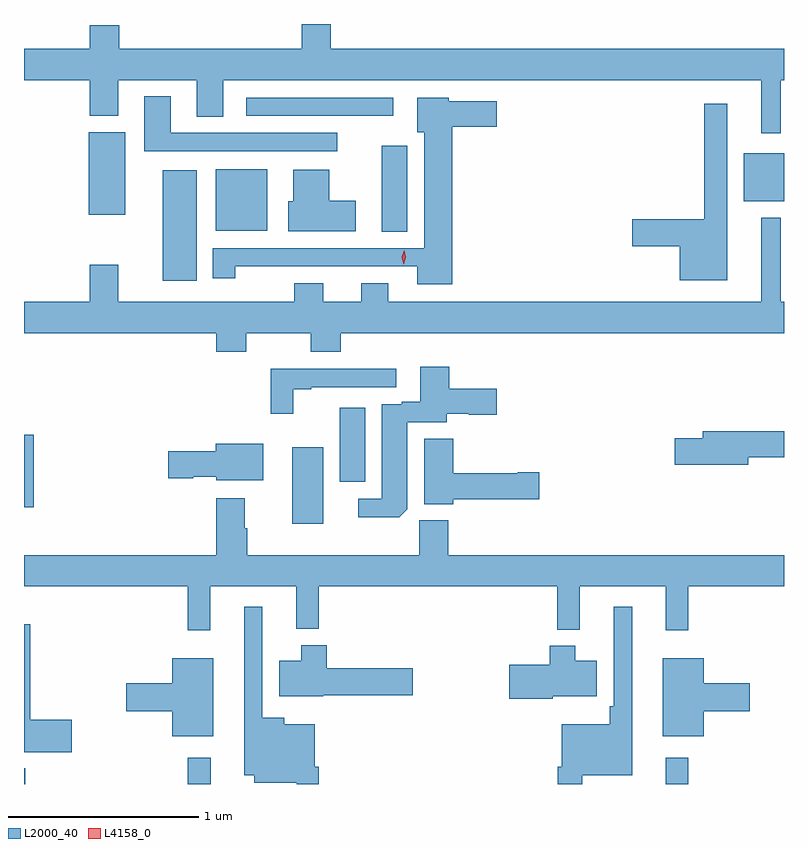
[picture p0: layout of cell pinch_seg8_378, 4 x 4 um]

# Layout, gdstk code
import gdstk
lib = gdstk.Library(unit=1e-6, precision=1e-09)
def R(c, l, rs):  # rectangles x0, y0, x1, y1
    for r in rs: c.add(gdstk.rectangle(r[:2], r[2:], *l))
def P(c, l, *ps):  # polygons
    for p in ps: c.add(gdstk.Polygon(p, *l))
L2000_40 = (2000, 40)
L4158_0 = (4158, 0)

pinch_seg8_378 = lib.new_cell('pinch_seg8_378')
R(pinch_seg8_378, L2000_40, [(396.566,1087.487,396.572,1087.57), (397.429,1087.487,397.548,1087.624), (399.944,1087.487,400.061,1087.624), (397.979,1088.856,398.14,1089.259), (396.566,1088.943,396.617,1089.324), (398.228,1089.078,398.362,1089.466), (397.295,1090.136,397.474,1090.717), (398.45,1090.393,398.584,1090.846), (397.574,1090.4,397.846,1090.723), (396.908,1090.484,397.099,1090.918), (400.355,1090.553,400.566,1090.807), (397.737,1091.004,398.509,1091.1)])
P(pinch_seg8_378, L2000_40, [(400.549,1091.192),(400.566,1091.192),(400.566,1091.356),(398.18,1091.356),(398.18,1091.487),(398.027,1091.487),(398.027,1091.356),(397.067,1091.356),(397.067,1091.48),(396.911,1091.48),(396.911,1091.356),(396.566,1091.356),(396.566,1091.192),(396.911,1091.192),(396.911,1091.003),(397.063,1091.003),(397.063,1091.192),(397.475,1091.192),(397.475,1090.999),(397.615,1090.999),(397.615,1091.192),(400.445,1091.192),(400.445,1090.911),(400.549,1090.911)],
  [(398.215,1090.914),(397.339,1090.914),(397.339,1091.107),(397.199,1091.107),(397.199,1090.818),(398.215,1090.818)],
  [(398.819,1090.946),(399.055,1090.946),(399.055,1091.08),(398.802,1091.08),(398.802,1091.098),(398.636,1091.098),(398.636,1090.916),(398.672,1090.916),(398.672,1090.308),(397.559,1090.308),(397.559,1090.149),(397.677,1090.149),(397.677,1090.211),(397.904,1090.211),(397.904,1090.212),(398.636,1090.212),(398.636,1090.118),(398.819,1090.118)],
  [(400.267,1091.068),(400.146,1091.068),(400.146,1090.46),(399.768,1090.46),(399.768,1090.318),(400.016,1090.318),(400.016,1090.139),(400.267,1090.139)],
  [(398.311,1090.558),(398.173,1090.558),(398.173,1090.72),(397.982,1090.72),(397.982,1090.554),(397.958,1090.554),(397.958,1090.397),(398.311,1090.397)],
  [(397.737,1089.86),(398.074,1089.86),(398.074,1089.761),(398.234,1089.761),(398.234,1089.86),(400.566,1089.86),(400.566,1090.024),(400.549,1090.024),(400.549,1090.468),(400.445,1090.468),(400.445,1090.024),(398.482,1090.024),(398.482,1090.123),(398.342,1090.123),(398.342,1090.024),(398.14,1090.024),(398.14,1090.123),(397.988,1090.123),(397.988,1090.024),(397.063,1090.024),(397.063,1090.219),(396.911,1090.219),(396.911,1090.024),(396.566,1090.024),(396.566,1089.86),(397.577,1089.86),(397.577,1089.761),(397.737,1089.761)],
  [(398.584,1088.932),(398.584,1089.39),(398.791,1089.39),(398.791,1089.437),(398.908,1089.437),(398.908,1089.43),(399.055,1089.43),(399.055,1089.567),(398.804,1089.567),(398.804,1089.682),(398.651,1089.682),(398.651,1089.499),(398.555,1089.499),(398.555,1089.486),(398.45,1089.486),(398.45,1088.988),(398.325,1088.988),(398.325,1088.891),(398.542,1088.891)],
  [(397.983,1089.564),(398.077,1089.564),(398.077,1089.576),(398.524,1089.576),(398.524,1089.672),(397.864,1089.672),(397.864,1089.435),(397.983,1089.435)],
  [(400.378,1089.208),(400.566,1089.208),(400.566,1089.344),(400.139,1089.344),(400.139,1089.308),(399.99,1089.308),(399.99,1089.166),(400.378,1089.166)],
  [(398.825,1088.986),(399.277,1088.986),(399.277,1089.128),(399.164,1089.128),(399.164,1089.123),(398.825,1089.123),(398.825,1089.305),(398.672,1089.305),(398.672,1088.96),(398.825,1088.96)],
  [(397.825,1089.277),(397.574,1089.277),(397.574,1089.239),(397.326,1089.239),(397.326,1089.097),(397.458,1089.097),(397.458,1089.104),(397.578,1089.104),(397.578,1089.086),(397.825,1089.086)],
  [(397.547,1088.528),(398,1088.528),(398,1088.303),(398.117,1088.303),(398.117,1088.528),(399.373,1088.528),(399.373,1088.3),(399.491,1088.3),(399.491,1088.528),(399.944,1088.528),(399.944,1088.295),(400.061,1088.295),(400.061,1088.528),(400.566,1088.528),(400.566,1088.692),(398.798,1088.692),(398.798,1088.874),(398.647,1088.874),(398.647,1088.692),(397.742,1088.692),(397.742,1088.834),(397.729,1088.834),(397.729,1088.992),(397.577,1088.992),(397.577,1088.692),(396.566,1088.692),(396.566,1088.528),(397.429,1088.528),(397.429,1088.295),(397.547,1088.295)],
  [(398.117,1087.579),(398.095,1087.579),(398.095,1087.801),(397.936,1087.801),(397.936,1087.837),(397.821,1087.837),(397.821,1088.419),(397.724,1088.419),(397.724,1087.532),(397.778,1087.532),(397.778,1087.493),(398.001,1087.493),(398.001,1087.487),(398.117,1087.487)],
  [(399.505,1087.532),(399.766,1087.532),(399.766,1088.419),(399.669,1088.419),(399.669,1087.897),(399.649,1087.897),(399.649,1087.801),(399.396,1087.801),(399.396,1087.579),(399.376,1087.579),(399.376,1087.487),(399.505,1087.487)],
  [(396.817,1087.826),(396.599,1087.826),(396.599,1088.329),(396.566,1088.329),(396.566,1087.655),(396.817,1087.655)],
  [(398.142,1087.955),(398.611,1087.955),(398.611,1088.097),(398.159,1088.097),(398.159,1088.218),(398.024,1088.218),(398.024,1088.137),(397.91,1088.137),(397.91,1087.949),(398.142,1087.949)],
  [(399.348,1087.949),(399.58,1087.949),(399.58,1088.137),(399.466,1088.137),(399.466,1088.215),(399.332,1088.215),(399.332,1088.115),(399.12,1088.115),(399.12,1087.937),(399.348,1087.937)],
  [(400.144,1087.871),(400.387,1087.871),(400.387,1088.018),(400.144,1088.018),(400.144,1088.149),(399.929,1088.149),(399.929,1087.739),(400.144,1087.739)],
  [(397.561,1088.149),(397.346,1088.149),(397.346,1088.018),(397.104,1088.018),(397.104,1087.871),(397.346,1087.871),(397.346,1087.739),(397.561,1087.739)])
P(pinch_seg8_378, L4158_0, [(398.565,1090.223),(398.565,1090.223),(398.555,1090.259),(398.566,1090.295),(398.566,1090.295),(398.566,1090.295),(398.575,1090.259),(398.565,1090.223)])

lib.write_gds('pinch_seg8_378.gds')
